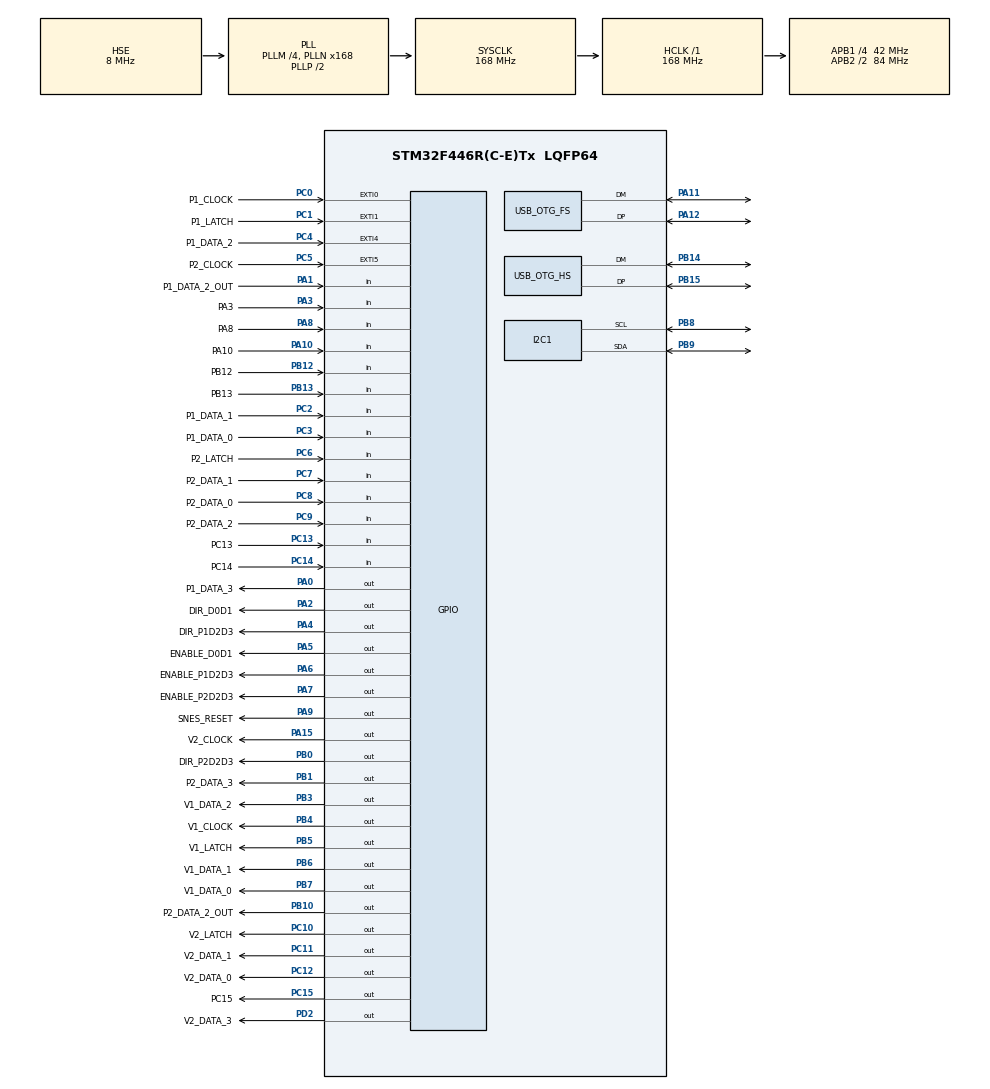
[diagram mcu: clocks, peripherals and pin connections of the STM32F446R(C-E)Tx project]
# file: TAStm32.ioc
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FATFS._USE_LFN=1
I2C1.I2C_Mode=I2C_Fast
Mcu.Family=STM32F4
Mcu.Name=STM32F446R(C-E)Tx
Mcu.Package=LQFP64
NVIC.EXTI0_IRQn=true\:0\:0\:true\:false\:true\:true\:true
NVIC.EXTI1_IRQn=true\:1\:0\:true\:false\:true\:true\:true
NVIC.EXTI4_IRQn=true\:0\:0\:false\:false\:true\:true\:true
NVIC.EXTI9_5_IRQn=true\:0\:0\:true\:false\:true\:true\:true
NVIC.OTG_FS_IRQn=true\:3\:0\:true\:false\:true\:true\:true
NVIC.OTG_HS_IRQn=true\:3\:0\:true\:false\:true\:false\:true
NVIC.PriorityGroup=NVIC_PRIORITYGROUP_4
NVIC.TIM1_UP_TIM10_IRQn=true\:0\:0\:false\:false\:true\:true\:true
NVIC.TIM2_IRQn=true\:4\:0\:true\:false\:true\:true\:true
NVIC.TIM3_IRQn=true\:2\:0\:true\:false\:true\:true\:true
NVIC.TIM6_DAC_IRQn=true\:0\:0\:true\:false\:true\:true\:true
NVIC.TIM7_IRQn=true\:0\:0\:true\:false\:true\:true\:true
PA0-WKUP.GPIO_Label=P1_DATA_3
PA0-WKUP.GPIO_Speed=GPIO_SPEED_FREQ_MEDIUM
PA0-WKUP.Signal=GPIO_Output
PA1.GPIO_Label=P1_DATA_2_OUT
PA1.GPIO_PuPd=GPIO_PULLUP
PA1.Signal=GPIO_Input
PA10.GPIO_Label=PA10
PA10.Signal=GPIO_Input
PA11.Mode=Device_Only
PA11.Signal=USB_OTG_FS_DM
PA12.Mode=Device_Only
PA12.Signal=USB_OTG_FS_DP
PA13.GPIO_Label=TMS
PA13.Mode=Serial_Wire
PA13.Signal=SYS_JTMS-SWDIO
PA14.GPIO_Label=TCK
PA14.Mode=Serial_Wire
PA14.Signal=SYS_JTCK-SWCLK
PA15.GPIO_Label=V2_CLOCK
PA15.GPIO_Speed=GPIO_SPEED_FREQ_VERY_HIGH
PA15.PinState=GPIO_PIN_RESET
PA15.Signal=GPIO_Output
PA2.GPIO_Label=DIR_D0D1
PA2.GPIO_Speed=GPIO_SPEED_FREQ_MEDIUM
PA2.PinState=GPIO_PIN_SET
PA2.Signal=GPIO_Output
PA3.GPIO_Label=PA3
PA3.GPIO_PuPd=GPIO_PULLUP
PA3.Signal=GPIO_Input
PA4.GPIO_Label=DIR_P1D2D3
PA4.GPIO_Speed=GPIO_SPEED_FREQ_MEDIUM
PA4.PinState=GPIO_PIN_SET
PA4.Signal=GPIO_Output
PA5.GPIO_Label=ENABLE_D0D1
PA5.GPIO_Speed=GPIO_SPEED_FREQ_MEDIUM
PA5.PinState=GPIO_PIN_SET
PA5.Signal=GPIO_Output
PA6.GPIO_Label=ENABLE_P1D2D3
PA6.GPIO_Speed=GPIO_SPEED_FREQ_MEDIUM
PA6.PinState=GPIO_PIN_SET
PA6.Signal=GPIO_Output
PA7.GPIO_Label=ENABLE_P2D2D3
PA7.GPIO_Speed=GPIO_SPEED_FREQ_MEDIUM
PA7.PinState=GPIO_PIN_SET
PA7.Signal=GPIO_Output
PA8.GPIO_Label=PA8
PA8.GPIO_PuPd=GPIO_PULLUP
PA8.Signal=GPIO_Input
PA9.GPIO_Label=SNES_RESET
PA9.GPIO_Speed=GPIO_SPEED_FREQ_MEDIUM
PA9.Signal=GPIO_Output
PB0.GPIO_Label=DIR_P2D2D3
PB0.GPIO_Speed=GPIO_SPEED_FREQ_MEDIUM
PB0.Signal=GPIO_Output
PB1.GPIO_Label=P2_DATA_3
PB1.Signal=GPIO_Output
PB10.GPIO_Label=P2_DATA_2_OUT
PB10.GPIO_Speed=GPIO_SPEED_FREQ_MEDIUM
PB10.Signal=GPIO_Output
PB12.GPIO_Label=PB12
PB12.GPIO_PuPd=GPIO_PULLUP
PB12.Signal=GPIO_Input
PB13.GPIO_Label=PB13
PB13.GPIO_PuPd=GPIO_PULLUP
PB13.Signal=GPIO_Input
PB14.Mode=Host_FS
PB14.Signal=USB_OTG_HS_DM
PB15.Mode=Host_FS
PB15.Signal=USB_OTG_HS_DP
PB3.GPIO_Label=V1_DATA_2
PB3.Signal=GPIO_Output
PB4.GPIO_Label=V1_CLOCK
PB4.GPIO_Speed=GPIO_SPEED_FREQ_VERY_HIGH
PB4.PinState=GPIO_PIN_RESET
PB4.Signal=GPIO_Output
PB5.GPIO_Label=V1_LATCH
PB5.GPIO_Speed=GPIO_SPEED_FREQ_VERY_HIGH
PB5.Signal=GPIO_Output
PB6.GPIO_Label=V1_DATA_1
PB6.GPIO_Speed=GPIO_SPEED_FREQ_VERY_HIGH
PB6.PinState=GPIO_PIN_RESET
PB6.Signal=GPIO_Output
PB7.GPIO_Label=V1_DATA_0
PB7.GPIO_Speed=GPIO_SPEED_FREQ_VERY_HIGH
PB7.PinState=GPIO_PIN_RESET
PB7.Signal=GPIO_Output
PB8.Mode=I2C
PB8.Signal=I2C1_SCL
PB9.Mode=I2C
PB9.Signal=I2C1_SDA
PC0.GPIO_Label=P1_CLOCK
PC0.GPIO_PuPd=GPIO_PULLDOWN
PC0.Signal=GPXTI0
PC1.GPIO_Label=P1_LATCH
PC1.GPIO_PuPd=GPIO_PULLDOWN
PC1.Signal=GPXTI1
PC10.GPIO_Label=V2_LATCH
PC10.GPIO_Speed=GPIO_SPEED_FREQ_VERY_HIGH
PC10.PinState=GPIO_PIN_RESET
PC10.Signal=GPIO_Output
PC11.GPIO_Label=V2_DATA_1
PC11.GPIO_Speed=GPIO_SPEED_FREQ_VERY_HIGH
PC11.PinState=GPIO_PIN_RESET
PC11.Signal=GPIO_Output
PC12.GPIO_Label=V2_DATA_0
PC12.GPIO_Speed=GPIO_SPEED_FREQ_VERY_HIGH
PC12.PinState=GPIO_PIN_RESET
PC12.Signal=GPIO_Output
PC13.GPIO_Label=PC13
PC13.GPIO_PuPd=GPIO_PULLUP
PC13.Signal=GPIO_Input
PC14-OSC32_IN.GPIO_Label=PC14
PC14-OSC32_IN.GPIO_PuPd=GPIO_PULLUP
PC14-OSC32_IN.Signal=GPIO_Input
PC15-OSC32_OUT.GPIO_Label=PC15
PC15-OSC32_OUT.Signal=GPIO_Output
PC2.GPIO_Label=P1_DATA_1
PC2.GPIO_PuPd=GPIO_PULLDOWN
PC2.Signal=GPIO_Input
PC3.GPIO_Label=P1_DATA_0
PC3.GPIO_PuPd=GPIO_PULLDOWN
PC3.Signal=GPIO_Input
PC4.GPIO_Label=P1_DATA_2
PC4.GPIO_ModeDefaultEXTI=GPIO_MODE_IT_FALLING
PC4.GPIO_PuPd=GPIO_PULLDOWN
PC4.Signal=GPXTI4
PC5.GPIO_Label=P2_CLOCK
PC5.GPIO_PuPd=GPIO_PULLDOWN
PC5.Signal=GPXTI5
PC6.GPIO_Label=P2_LATCH
PC6.GPIO_PuPd=GPIO_PULLDOWN
PC6.Signal=GPIO_Input
PC7.GPIO_Label=P2_DATA_1
PC7.GPIO_PuPd=GPIO_PULLDOWN
PC7.Signal=GPIO_Input
PC8.GPIO_Label=P2_DATA_0
PC8.GPIO_PuPd=GPIO_PULLDOWN
PC8.Signal=GPIO_Input
PC9.GPIO_Label=P2_DATA_2
PC9.GPIO_PuPd=GPIO_PULLDOWN
PC9.Signal=GPIO_Input
PD2.GPIO_Label=V2_DATA_3
PD2.Signal=GPIO_Output
PH0-OSC_IN.Mode=HSE-External-Oscillator
PH0-OSC_IN.Signal=RCC_OSC_IN
PH1-OSC_OUT.Mode=HSE-External-Oscillator
PH1-OSC_OUT.Signal=RCC_OSC_OUT
ProjectManager.HeapSize=0x200
ProjectManager.StackSize=0x400
ProjectManager.TargetToolchain=TrueSTUDIO
RCC.48MHZClocksFreq_Value=84000000
RCC.AHBFreq_Value=168000000
RCC.APB1CLKDivider=RCC_HCLK_DIV4
RCC.APB1Freq_Value=42000000
RCC.APB1TimFreq_Value=84000000
RCC.APB2CLKDivider=RCC_HCLK_DIV2
RCC.APB2Freq_Value=84000000
RCC.APB2TimFreq_Value=168000000
RCC.CortexFreq_Value=168000000
RCC.FLatency-AdvancedSettings=FLASH_LATENCY_5
RCC.HCLKFreq_Value=168000000
RCC.HSE_VALUE=8000000
RCC.HSI_VALUE=16000000
RCC.PLLM=4
RCC.PLLN=168
RCC.PLLQ=7
RCC.PLLSourceVirtual=RCC_PLLSOURCE_HSE
RCC.SYSCLKFreq_VALUE=168000000
RCC.SYSCLKSource=RCC_SYSCLKSOURCE_PLLCLK
RCC.USBFreq_Value=48000000
RCC.VCOOutputFreq_Value=336000000
TIM10.Period=200-1
TIM10.Prescaler=16800-1
TIM2.Period=10
TIM2.Prescaler=8400
TIM3.Period=500-1
TIM3.Prescaler=840-1
TIM3.TIM_MasterOutputTrigger=TIM_TRGO_RESET
TIM6.Period=4-1
TIM6.Prescaler=21-1
TIM7.Period=4-1
TIM7.Prescaler=21-1
USB_DEVICE.CLASS_NAME_FS=CDC
USB_DEVICE.CONFIGURATION_STRING_CDC_FS=Serial Config
USB_DEVICE.INTERFACE_STRING_CDC_FS=Serial Interface
USB_DEVICE.MANUFACTURER_STRING-CDC_FS=Ownasaurus
USB_DEVICE.PID_CDC_FS=0x07A5
USB_DEVICE.PRODUCT_STRING_CDC_FS=TAStm32 Virtual ComPort
USB_DEVICE.VID-CDC_FS=0xB07
USB_DEVICE.VirtualMode-CDC_FS=Cdc
USB_DEVICE.VirtualModeFS=Cdc_FS
USB_HOST.USBH_HandleTypeDef-MSC_HS=hUsbHostHS
USB_HOST.VirtualModeHS=Msc
USB_OTG_FS.VirtualMode=Device_Only
USB_OTG_HS.VirtualMode-Host_FS=Host_FS
VP_FATFS_VS_USB.Mode=USB
VP_TIM10_VS_ClockSourceINT.Mode=Enable_Timer
VP_TIM2_VS_ClockSourceINT.Mode=Internal
VP_TIM3_VS_ClockSourceINT.Mode=Internal
VP_TIM6_VS_ClockSourceINT.Mode=Enable_Timer
VP_TIM7_VS_ClockSourceINT.Mode=Enable_Timer
VP_USB_DEVICE_VS_USB_DEVICE_CDC_FS.Mode=CDC_FS
VP_USB_HOST_VS_USB_HOST_MSC_HS.Mode=MSC_HS
board=NUCLEO-F446RE

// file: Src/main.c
/* USER CODE BEGIN Header */
/**
  ******************************************************************************
  * @file           : main.c
  * @brief          : Main program body
  ******************************************************************************
  ** This notice applies to any and all portions of this file
  * that are not between comment pairs USER CODE BEGIN and
  * USER CODE END. Other portions of this file, whether
  * inserted by the user or by software development tools
  * are owned by their respective copyright owners.
  *
  * COPYRIGHT(c) 2019 STMicroelectronics
  *
  * Redistribution and use in source and binary forms, with or without modification,
  * are permitted provided that the following conditions are met:
  *   1. Redistributions of source code must retain the above copyright notice,
  *      this list of conditions and the following disclaimer.
  *   2. Redistributions in binary form must reproduce the above copyright notice,
  *      this list of conditions and the following disclaimer in the documentation
  *      and/or other materials provided with the distribution.
  *   3. Neither the name of STMicroelectronics nor the names of its contributors
  *      may be used to endorse or promote products derived from this software
  *      without specific prior written permission.
  *
  * THIS SOFTWARE IS PROVIDED BY THE COPYRIGHT HOLDERS AND CONTRIBUTORS "AS IS"
  * AND ANY EXPRESS OR IMPLIED WARRANTIES, INCLUDING, BUT NOT LIMITED TO, THE
  * IMPLIED WARRANTIES OF MERCHANTABILITY AND FITNESS FOR A PARTICULAR PURPOSE ARE
  * DISCLAIMED. IN NO EVENT SHALL THE COPYRIGHT HOLDER OR CONTRIBUTORS BE LIABLE
  * FOR ANY DIRECT, INDIRECT, INCIDENTAL, SPECIAL, EXEMPLARY, OR CONSEQUENTIAL
  * DAMAGES (INCLUDING, BUT NOT LIMITED TO, PROCUREMENT OF SUBSTITUTE GOODS OR
  * SERVICES; LOSS OF USE, DATA, OR PROFITS; OR BUSINESS INTERRUPTION) HOWEVER
  * CAUSED AND ON ANY THEORY OF LIABILITY, WHETHER IN CONTRACT, STRICT LIABILITY,
  * OR TORT (INCLUDING NEGLIGENCE OR OTHERWISE) ARISING IN ANY WAY OUT OF THE USE
  * OF THIS SOFTWARE, EVEN IF ADVISED OF THE POSSIBILITY OF SUCH DAMAGE.
  *
  ******************************************************************************
  */
/* USER CODE END Header */

#include "main.h"
#include "fatfs.h"
#include "usb_device.h"
#include "usb_host.h"

/* USER CODE BEGIN Includes */
#include <string.h>
#include "usbd_cdc_if.h"
#include "n64.h"
#include "TASRun.h"
#include "stm32f4xx_it.h"
#include "serial_interface.h"
#include "usbplayback/usbplayback.h"
/* USER CODE END Includes */

I2C_HandleTypeDef hi2c1;

TIM_HandleTypeDef htim2;
TIM_HandleTypeDef htim3;
TIM_HandleTypeDef htim6;
TIM_HandleTypeDef htim7;
TIM_HandleTypeDef htim10;

/* USER CODE BEGIN PV */
volatile uint8_t jumpToDFU;
/* USER CODE END PV */

void SystemClock_Config(void);
static void MX_TIM3_Init(void);
static void MX_TIM6_Init(void);
static void MX_TIM7_Init(void);
static void MX_TIM10_Init(void);
static void MX_I2C1_Init(void);
static void MX_TIM2_Init(void);
void MX_USB_HOST_Process(void);

/* USER CODE BEGIN PFP */

// Reset GPIO back to poweron state

/* USER CODE END PFP */

int main(void)
{
  /* USER CODE BEGIN 1 */
	// Specifies whether the OLED screen has been detected and therefore whether or not to send data to it

	uint8_t screenOK = 0;
  /* USER CODE END 1 */

  /* MCU Configuration--------------------------------------------------------*/

  /* Reset of all peripherals, Initializes the Flash interface and the Systick. */
  HAL_Init();

  /* Configure the system clock */
  SystemClock_Config();

  /* USER CODE BEGIN SysInit */
  serial_interface_reset();
  ResetGPIO();
  /* USER CODE END SysInit */

  /* Initialize all configured peripherals */
  MX_USB_DEVICE_Init();
  MX_TIM3_Init();
  MX_TIM6_Init();
  MX_TIM7_Init();
  MX_TIM10_Init();
  MX_FATFS_Init();
  MX_USB_HOST_Init();
  MX_I2C1_Init();
  MX_TIM2_Init();
  /* USER CODE BEGIN 2 */

  jumpToDFU = 0;

  // Check the OLED screen is there and initialize it if so
  screenOK = USB_Playback_Init();

  // Only start the input process timer if the screen has been detected
  if (screenOK) HAL_TIM_Base_Start_IT(&htim2);

  /* USER CODE END 2 */

  /* Infinite loop */
  while (1)
  {
    MX_USB_HOST_Process();

    /* USER CODE BEGIN 3 */
	  if(jumpToDFU == 1)
	  {
		  JumpToBootLoader();
	  }

	  // Only run USB playback task if screen has been detected
	  if (screenOK)
		  USB_Playback_Task();

  }
  /* USER CODE END 3 */
}

void SystemClock_Config(void)
{
  RCC_OscInitTypeDef RCC_OscInitStruct = {0};
  RCC_ClkInitTypeDef RCC_ClkInitStruct = {0};
  RCC_PeriphCLKInitTypeDef PeriphClkInitStruct = {0};

  /** Configure the main internal regulator output voltage
  */
  __HAL_RCC_PWR_CLK_ENABLE();
  __HAL_PWR_VOLTAGESCALING_CONFIG(PWR_REGULATOR_VOLTAGE_SCALE1);
  /** Initializes the CPU, AHB and APB busses clocks
  */
  RCC_OscInitStruct.OscillatorType = RCC_OSCILLATORTYPE_HSE;
  RCC_OscInitStruct.HSEState = RCC_HSE_ON;
  RCC_OscInitStruct.PLL.PLLState = RCC_PLL_ON;
  RCC_OscInitStruct.PLL.PLLSource = RCC_PLLSOURCE_HSE;
  RCC_OscInitStruct.PLL.PLLM = 4;
  RCC_OscInitStruct.PLL.PLLN = 168;
  RCC_OscInitStruct.PLL.PLLP = RCC_PLLP_DIV2;
  RCC_OscInitStruct.PLL.PLLQ = 7;
  RCC_OscInitStruct.PLL.PLLR = 2;
  if (HAL_RCC_OscConfig(&RCC_OscInitStruct) != HAL_OK)
  {
    Error_Handler();
  }
  /** Initializes the CPU, AHB and APB busses clocks
  */
  RCC_ClkInitStruct.ClockType = RCC_CLOCKTYPE_HCLK|RCC_CLOCKTYPE_SYSCLK
                              |RCC_CLOCKTYPE_PCLK1|RCC_CLOCKTYPE_PCLK2;
  RCC_ClkInitStruct.SYSCLKSource = RCC_SYSCLKSOURCE_PLLCLK;
  RCC_ClkInitStruct.AHBCLKDivider = RCC_SYSCLK_DIV1;
  RCC_ClkInitStruct.APB1CLKDivider = RCC_HCLK_DIV4;
  RCC_ClkInitStruct.APB2CLKDivider = RCC_HCLK_DIV2;

  if (HAL_RCC_ClockConfig(&RCC_ClkInitStruct, FLASH_LATENCY_5) != HAL_OK)
  {
    Error_Handler();
  }
  PeriphClkInitStruct.PeriphClockSelection = RCC_PERIPHCLK_CLK48;
  PeriphClkInitStruct.Clk48ClockSelection = RCC_CLK48CLKSOURCE_PLLQ;
  if (HAL_RCCEx_PeriphCLKConfig(&PeriphClkInitStruct) != HAL_OK)
  {
    Error_Handler();
  }
}

static void MX_I2C1_Init(void)
{

  hi2c1.Instance = I2C1;
  hi2c1.Init.ClockSpeed = 400000;
  hi2c1.Init.DutyCycle = I2C_DUTYCYCLE_2;
  hi2c1.Init.OwnAddress1 = 0;
  hi2c1.Init.AddressingMode = I2C_ADDRESSINGMODE_7BIT;
  hi2c1.Init.DualAddressMode = I2C_DUALADDRESS_DISABLE;
  hi2c1.Init.OwnAddress2 = 0;
  hi2c1.Init.GeneralCallMode = I2C_GENERALCALL_DISABLE;
  hi2c1.Init.NoStretchMode = I2C_NOSTRETCH_DISABLE;
  if (HAL_I2C_Init(&hi2c1) != HAL_OK)
  {
    Error_Handler();
  }

}

static void MX_TIM2_Init(void)
{

  TIM_ClockConfigTypeDef sClockSourceConfig = {0};
  TIM_MasterConfigTypeDef sMasterConfig = {0};

  htim2.Instance = TIM2;
  htim2.Init.Prescaler = 8400;
  htim2.Init.CounterMode = TIM_COUNTERMODE_UP;
  htim2.Init.Period = 10;
  htim2.Init.ClockDivision = TIM_CLOCKDIVISION_DIV1;
  htim2.Init.AutoReloadPreload = TIM_AUTORELOAD_PRELOAD_DISABLE;
  if (HAL_TIM_Base_Init(&htim2) != HAL_OK)
  {
    Error_Handler();
  }
  sClockSourceConfig.ClockSource = TIM_CLOCKSOURCE_INTERNAL;
  if (HAL_TIM_ConfigClockSource(&htim2, &sClockSourceConfig) != HAL_OK)
  {
    Error_Handler();
  }
  sMasterConfig.MasterOutputTrigger = TIM_TRGO_RESET;
  sMasterConfig.MasterSlaveMode = TIM_MASTERSLAVEMODE_DISABLE;
  if (HAL_TIMEx_MasterConfigSynchronization(&htim2, &sMasterConfig) != HAL_OK)
  {
    Error_Handler();
  }

}

static void MX_TIM3_Init(void)
{

  TIM_ClockConfigTypeDef sClockSourceConfig = {0};
  TIM_MasterConfigTypeDef sMasterConfig = {0};

  htim3.Instance = TIM3;
  htim3.Init.Prescaler = 840-1;
  htim3.Init.CounterMode = TIM_COUNTERMODE_UP;
  htim3.Init.Period = 500-1;
  htim3.Init.ClockDivision = TIM_CLOCKDIVISION_DIV1;
  htim3.Init.AutoReloadPreload = TIM_AUTORELOAD_PRELOAD_DISABLE;
  if (HAL_TIM_Base_Init(&htim3) != HAL_OK)
  {
    Error_Handler();
  }
  sClockSourceConfig.ClockSource = TIM_CLOCKSOURCE_INTERNAL;
  if (HAL_TIM_ConfigClockSource(&htim3, &sClockSourceConfig) != HAL_OK)
  {
    Error_Handler();
  }
  sMasterConfig.MasterOutputTrigger = TIM_TRGO_RESET;
  sMasterConfig.MasterSlaveMode = TIM_MASTERSLAVEMODE_DISABLE;
  if (HAL_TIMEx_MasterConfigSynchronization(&htim3, &sMasterConfig) != HAL_OK)
  {
    Error_Handler();
  }

}

static void MX_TIM6_Init(void)
{

  TIM_MasterConfigTypeDef sMasterConfig = {0};

  htim6.Instance = TIM6;
  htim6.Init.Prescaler = 21-1;
  htim6.Init.CounterMode = TIM_COUNTERMODE_UP;
  htim6.Init.Period = 4-1;
  htim6.Init.AutoReloadPreload = TIM_AUTORELOAD_PRELOAD_DISABLE;
  if (HAL_TIM_Base_Init(&htim6) != HAL_OK)
  {
    Error_Handler();
  }
  sMasterConfig.MasterOutputTrigger = TIM_TRGO_RESET;
  sMasterConfig.MasterSlaveMode = TIM_MASTERSLAVEMODE_DISABLE;
  if (HAL_TIMEx_MasterConfigSynchronization(&htim6, &sMasterConfig) != HAL_OK)
  {
    Error_Handler();
  }

}

static void MX_TIM7_Init(void)
{

  TIM_MasterConfigTypeDef sMasterConfig = {0};

  htim7.Instance = TIM7;
  htim7.Init.Prescaler = 21-1;
  htim7.Init.CounterMode = TIM_COUNTERMODE_UP;
  htim7.Init.Period = 4-1;
  htim7.Init.AutoReloadPreload = TIM_AUTORELOAD_PRELOAD_DISABLE;
  if (HAL_TIM_Base_Init(&htim7) != HAL_OK)
  {
    Error_Handler();
  }
  sMasterConfig.MasterOutputTrigger = TIM_TRGO_RESET;
  sMasterConfig.MasterSlaveMode = TIM_MASTERSLAVEMODE_DISABLE;
  if (HAL_TIMEx_MasterConfigSynchronization(&htim7, &sMasterConfig) != HAL_OK)
  {
    Error_Handler();
  }

}

static void MX_TIM10_Init(void)
{

  htim10.Instance = TIM10;
  htim10.Init.Prescaler = 16800-1;
  htim10.Init.CounterMode = TIM_COUNTERMODE_UP;
  htim10.Init.Period = 200-1;
  htim10.Init.ClockDivision = TIM_CLOCKDIVISION_DIV1;
  htim10.Init.AutoReloadPreload = TIM_AUTORELOAD_PRELOAD_DISABLE;
  if (HAL_TIM_Base_Init(&htim10) != HAL_OK)
  {
    Error_Handler();
  }

}

/* USER CODE BEGIN 4 */
void ReInitClockTimers(void)
{

	TIM_MasterConfigTypeDef sMasterConfig = {0};
	sMasterConfig.MasterOutputTrigger = TIM_TRGO_RESET;
	sMasterConfig.MasterSlaveMode = TIM_MASTERSLAVEMODE_DISABLE;

	// re-init tim6
	if (HAL_TIM_Base_Init(&htim6) != HAL_OK)
	{
		Error_Handler();
	}
	if (HAL_TIMEx_MasterConfigSynchronization(&htim6, &sMasterConfig) != HAL_OK)
	{
		Error_Handler();
	}

	// re-init tim7
	if (HAL_TIM_Base_Init(&htim7) != HAL_OK)
	{
		Error_Handler();
	}
	if (HAL_TIMEx_MasterConfigSynchronization(&htim7, &sMasterConfig) != HAL_OK)
	{
		Error_Handler();
	}

}

// Many thanks to Tien Majerle, owner of https://stm32f4-discovery.net/, for help with this function
void JumpToBootLoader(void) {
	void (*SysMemBootJump)(void);

	// De-init USB
	MX_USB_DEVICE_DeInit();
	MX_USB_HOST_DeInit();

	// Disable all of our interrupts (except systick which will be handled later)
	HAL_NVIC_DisableIRQ(EXTI0_IRQn);
	HAL_NVIC_DisableIRQ(EXTI1_IRQn);
	HAL_NVIC_DisableIRQ(EXTI4_IRQn);
	HAL_NVIC_DisableIRQ(EXTI9_5_IRQn);
	HAL_NVIC_DisableIRQ(OTG_FS_IRQn);
	HAL_NVIC_DisableIRQ(TIM3_IRQn);
	HAL_NVIC_DisableIRQ(TIM6_DAC_IRQn);
	HAL_NVIC_DisableIRQ(TIM7_IRQn);
	HAL_NVIC_DisableIRQ(TIM1_UP_TIM10_IRQn);
	HAL_NVIC_DisableIRQ(SysTick_IRQn);

	// De-init timers
	HAL_TIM_Base_DeInit(&htim3);
	HAL_TIM_Base_DeInit(&htim6);
	HAL_TIM_Base_DeInit(&htim7);
	HAL_TIM_Base_DeInit(&htim10);

	// clear all interrupts
	while (HAL_NVIC_GetPendingIRQ(EXTI0_IRQn))
	{
		__HAL_GPIO_EXTI_CLEAR_IT(P1_CLOCK_Pin);
		HAL_NVIC_ClearPendingIRQ(EXTI0_IRQn);
	}
	while (HAL_NVIC_GetPendingIRQ(EXTI1_IRQn))
	{
		__HAL_GPIO_EXTI_CLEAR_IT(P1_LATCH_Pin);
		HAL_NVIC_ClearPendingIRQ(EXTI1_IRQn);
	}
	while (HAL_NVIC_GetPendingIRQ(EXTI4_IRQn))
	{
		__HAL_GPIO_EXTI_CLEAR_IT(P1_DATA_2_Pin);
		HAL_NVIC_ClearPendingIRQ(EXTI4_IRQn);
	}
	while (HAL_NVIC_GetPendingIRQ(EXTI9_5_IRQn))
	{
		__HAL_GPIO_EXTI_CLEAR_IT(P2_CLOCK_Pin);
		__HAL_GPIO_EXTI_CLEAR_IT(P2_DATA_2_Pin);
		HAL_NVIC_ClearPendingIRQ(EXTI9_5_IRQn);
	}
	while (HAL_NVIC_GetPendingIRQ(TIM3_IRQn))
	{
		HAL_NVIC_ClearPendingIRQ(TIM3_IRQn);
	}
	while (HAL_NVIC_GetPendingIRQ(TIM6_DAC_IRQn))
	{
		HAL_NVIC_ClearPendingIRQ(TIM6_DAC_IRQn);
	}
	while (HAL_NVIC_GetPendingIRQ(TIM7_IRQn))
	{
		HAL_NVIC_ClearPendingIRQ(TIM7_IRQn);
	}
	while (HAL_NVIC_GetPendingIRQ(TIM7_IRQn))
	{
		HAL_NVIC_ClearPendingIRQ(TIM7_IRQn);
	}
	while (HAL_NVIC_GetPendingIRQ(TIM1_UP_TIM10_IRQn))
	{
		HAL_NVIC_ClearPendingIRQ(TIM1_UP_TIM10_IRQn);
	}
	while (HAL_NVIC_GetPendingIRQ(OTG_FS_IRQn))
	{
		HAL_NVIC_ClearPendingIRQ(OTG_FS_IRQn);
	}

	// Prepare to jump
	volatile uint32_t addr = 0x1FFF0000;

	// Restore VTOR
	SCB->VTOR = 0x08000000UL; /* Vector Table Relocation in Internal FLASH */

	// reset RCC back to default values
	HAL_RCC_DeInit();

	// clear SysTick
	SysTick->CTRL = 0;
	SysTick->LOAD = 0;
	SysTick->VAL = 0;

	// remaps the address of the system memory to 0x00000000
	// necessary for proper transition to bootloader
	SYSCFG->MEMRMP = 0x01;

	// sets destination address of the jump. note it is one word into the bootloader code which is the first instruction
	SysMemBootJump = (void (*)(void)) (*((uint32_t *)(addr + 4)));

	// sets the stack poitner to the first word of the bootloader code
	__set_MSP(*(uint32_t *)addr);

	// jump!
	SysMemBootJump();
}

/* USER CODE END 4 */

void Error_Handler(void)
{
}

/************************ (C) COPYRIGHT STMicroelectronics *****END OF FILE****/
